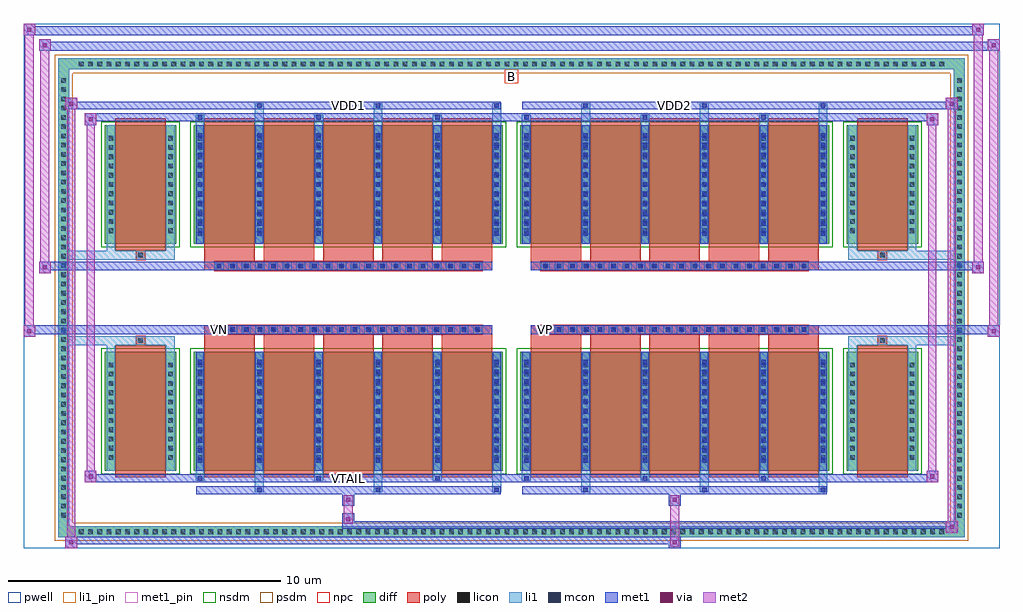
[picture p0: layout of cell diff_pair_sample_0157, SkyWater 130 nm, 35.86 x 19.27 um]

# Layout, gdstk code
import gdstk
lib = gdstk.Library(unit=1e-6, precision=5e-09)
def R(c, l, rs):  # rectangles x0, y0, x1, y1
    for r in rs: c.add(gdstk.rectangle(r[:2], r[2:], *l))
def A(c, l, x, y, w, h, nx, ny, dx, dy):  # array of equal rectangles
    R(c, l, [(x+i*dx, y+j*dy, x+i*dx+w, y+j*dy+h) for i in range(nx) for j in range(ny)])
def P(c, l, *ps):  # polygons
    for p in ps: c.add(gdstk.Polygon(p, *l))
pwell = (64, 44)
diff = (65, 20)
poly = (66, 20)
licon = (66, 44)
li1_pin = (67, 16)
li1 = (67, 20)
mcon = (67, 44)
met1_pin = (68, 16)
met1 = (68, 20)
via = (68, 44)
met2 = (69, 20)
nsdm = (93, 44)
psdm = (94, 20)
npc = (95, 20)

diff_pair_sample_0157 = lib.new_cell('diff_pair_sample_0157')
R(diff_pair_sample_0157, pwell, [(-17.93,-9.2,17.93,10.07), (-15.25,-7.39,-0.01,-0.805), (0.01,-7.39,15.25,-0.805), (-15.25,0.805,-0.01,7.39), (0.01,0.805,15.25,7.39)])
A(diff_pair_sample_0157, diff, -16.015, -8.8, 0.41, 0.41, 94, 2, 0.34, 17.19)
A(diff_pair_sample_0157, diff, -16.66, -8.195, 0.41, 0.41, 1, 48, 0, 0.34)
A(diff_pair_sample_0157, diff, 16.25, -8.195, 0.41, 0.41, 1, 48, 0, 0.34)
R(diff_pair_sample_0157, diff, [(-16.015,-8.8,16.015,-8.39), (-16.66,-8.195,-16.25,8.195), (16.25,-8.195,16.66,8.195), (-14.94,-6.345,-12.31,-1.985), (-11.67,-6.345,-0.32,-1.985), (0.32,-6.345,11.67,-1.985), (12.31,-6.345,14.94,-1.985), (-14.94,1.985,-12.31,6.345), (-11.67,1.985,-0.32,6.345), (0.32,1.985,11.67,6.345), (12.31,1.985,14.94,6.345), (-16.015,8.39,16.015,8.8)])
P(diff_pair_sample_0157, diff, [(16.66,8.8),(-16.66,8.8),(-16.66,-8.39),(-16.25,-8.39),(-16.25,8.39),(16.25,8.39),(16.25,-8.39),(-16.25,-8.39),(-16.66,-8.39),(-16.66,-8.8),(16.66,-8.8)])
A(diff_pair_sample_0157, poly, -11.28, -6.595, 1.85, 4.86, 5, 2, 2.18, 8.33)
A(diff_pair_sample_0157, poly, 0.71, -6.595, 1.85, 4.86, 5, 2, 2.18, 8.33)
A(diff_pair_sample_0157, poly, -11.28, -1.735, 1.85, 0.4, 5, 2, 2.18, 3.07)
A(diff_pair_sample_0157, poly, 0.71, -1.735, 1.85, 0.4, 5, 2, 2.18, 3.07)
A(diff_pair_sample_0157, poly, -10.91, -1.335, 0.33, 0.33, 20, 2, 0.5, 2.34)
A(diff_pair_sample_0157, poly, 1.08, -1.335, 0.33, 0.33, 20, 2, 0.5, 2.34)
R(diff_pair_sample_0157, poly, [(-14.55,-6.595,-12.7,-1.735), (12.7,-6.595,14.55,-1.735), (-13.79,-1.735,-13.46,-1.405), (-13.79,-1.735,-13.46,-1.405), (13.46,-1.735,13.79,-1.405), (13.46,-1.735,13.79,-1.405), (-11.28,-1.335,-0.71,-1.005), (0.71,-1.335,11.28,-1.005), (-11.28,1.005,-0.71,1.335), (0.71,1.005,11.28,1.335), (-13.79,1.405,-13.46,1.735), (-13.79,1.405,-13.46,1.735), (13.46,1.405,13.79,1.735), (13.46,1.405,13.79,1.735), (-14.55,1.735,-12.7,6.595), (12.7,1.735,14.55,6.595)])
A(diff_pair_sample_0157, licon, -15.895, -8.68, 0.17, 0.17, 94, 2, 0.34, 17.19)
A(diff_pair_sample_0157, licon, -16.54, -8.075, 0.17, 0.17, 1, 48, 0, 0.34)
A(diff_pair_sample_0157, licon, 16.37, -8.075, 0.17, 0.17, 1, 48, 0, 0.34)
A(diff_pair_sample_0157, licon, -14.8, -5.95, 0.17, 0.17, 1, 11, 0, 0.34)
A(diff_pair_sample_0157, licon, -12.62, -5.95, 0.17, 0.17, 1, 11, 0, 0.34)
A(diff_pair_sample_0157, licon, -11.53, -5.95, 0.17, 0.17, 6, 11, 2.18, 0.34)
A(diff_pair_sample_0157, licon, 0.46, -5.95, 0.17, 0.17, 6, 11, 2.18, 0.34)
A(diff_pair_sample_0157, licon, 12.45, -5.95, 0.17, 0.17, 1, 11, 0, 0.34)
A(diff_pair_sample_0157, licon, 14.63, -5.95, 0.17, 0.17, 1, 11, 0, 0.34)
A(diff_pair_sample_0157, licon, -10.83, -1.255, 0.17, 0.17, 20, 2, 0.5, 2.34)
A(diff_pair_sample_0157, licon, 1.16, -1.255, 0.17, 0.17, 20, 2, 0.5, 2.34)
A(diff_pair_sample_0157, licon, -14.8, 2.38, 0.17, 0.17, 1, 11, 0, 0.34)
A(diff_pair_sample_0157, licon, -12.62, 2.38, 0.17, 0.17, 1, 11, 0, 0.34)
A(diff_pair_sample_0157, licon, -11.53, 2.38, 0.17, 0.17, 6, 11, 2.18, 0.34)
A(diff_pair_sample_0157, licon, 0.46, 2.38, 0.17, 0.17, 6, 11, 2.18, 0.34)
A(diff_pair_sample_0157, licon, 12.45, 2.38, 0.17, 0.17, 1, 11, 0, 0.34)
A(diff_pair_sample_0157, licon, 14.63, 2.38, 0.17, 0.17, 1, 11, 0, 0.34)
R(diff_pair_sample_0157, licon, [(-13.71,-1.655,-13.54,-1.485), (13.54,-1.655,13.71,-1.485), (-13.71,1.485,-13.54,1.655), (13.54,1.485,13.71,1.655)])
R(diff_pair_sample_0157, li1_pin, [(-0.25,7.89,0.25,8.39)])
A(diff_pair_sample_0157, li1, -15.975, -8.76, 0.33, 0.33, 94, 2, 0.34, 17.19)
A(diff_pair_sample_0157, li1, -16.62, -8.155, 0.33, 0.33, 1, 48, 0, 0.34)
A(diff_pair_sample_0157, li1, 16.29, -8.155, 0.33, 0.33, 1, 48, 0, 0.34)
A(diff_pair_sample_0157, li1, -9.43, -7.15, 0.33, 0.805, 3, 2, 4.36, 13.495)
A(diff_pair_sample_0157, li1, -9.35, -7.15, 0.17, 0.17, 3, 2, 4.36, 14.13)
A(diff_pair_sample_0157, li1, 2.56, -7.15, 0.33, 0.805, 3, 2, 4.36, 13.495)
A(diff_pair_sample_0157, li1, 2.64, -7.15, 0.17, 0.17, 3, 2, 4.36, 14.13)
A(diff_pair_sample_0157, li1, -11.61, -6.72, 0.33, 0.375, 3, 2, 4.36, 13.065)
A(diff_pair_sample_0157, li1, -11.53, -6.72, 0.17, 0.17, 3, 2, 4.36, 13.27)
A(diff_pair_sample_0157, li1, 0.38, -6.72, 0.33, 0.375, 3, 2, 4.36, 13.065)
A(diff_pair_sample_0157, li1, 0.46, -6.72, 0.17, 0.17, 3, 2, 4.36, 13.27)
A(diff_pair_sample_0157, li1, -11.61, -6.345, 0.33, 4.36, 6, 2, 2.18, 8.33)
A(diff_pair_sample_0157, li1, 0.38, -6.345, 0.33, 4.36, 6, 2, 2.18, 8.33)
A(diff_pair_sample_0157, li1, -11.53, -6.05, 0.17, 0.17, 6, 11, 2.18, 0.36)
A(diff_pair_sample_0157, li1, -11.53, -6.05, 0.17, 3.77, 6, 2, 2.18, 8.33)
A(diff_pair_sample_0157, li1, 0.46, -6.05, 0.17, 0.17, 6, 11, 2.18, 0.36)
A(diff_pair_sample_0157, li1, 0.46, -6.05, 0.17, 3.77, 6, 2, 2.18, 8.33)
A(diff_pair_sample_0157, li1, -14.88, -6.03, 0.33, 0.33, 1, 11, 0, 0.34)
A(diff_pair_sample_0157, li1, -12.7, -6.03, 0.33, 0.33, 1, 11, 0, 0.34)
A(diff_pair_sample_0157, li1, -11.61, -6.03, 0.33, 0.33, 6, 11, 2.18, 0.34)
A(diff_pair_sample_0157, li1, 0.38, -6.03, 0.33, 0.33, 6, 11, 2.18, 0.34)
A(diff_pair_sample_0157, li1, 12.37, -6.03, 0.33, 0.33, 1, 11, 0, 0.34)
A(diff_pair_sample_0157, li1, 14.55, -6.03, 0.33, 0.33, 1, 11, 0, 0.34)
A(diff_pair_sample_0157, li1, -10.91, -1.335, 0.33, 0.33, 20, 2, 0.5, 2.34)
A(diff_pair_sample_0157, li1, 1.08, -1.335, 0.33, 0.33, 20, 2, 0.5, 2.34)
A(diff_pair_sample_0157, li1, -11.53, 2.28, 0.17, 0.17, 6, 11, 2.18, 0.36)
A(diff_pair_sample_0157, li1, 0.46, 2.28, 0.17, 0.17, 6, 11, 2.18, 0.36)
A(diff_pair_sample_0157, li1, -14.88, 2.3, 0.33, 0.33, 1, 11, 0, 0.34)
A(diff_pair_sample_0157, li1, -12.7, 2.3, 0.33, 0.33, 1, 11, 0, 0.34)
A(diff_pair_sample_0157, li1, -11.61, 2.3, 0.33, 0.33, 6, 11, 2.18, 0.34)
A(diff_pair_sample_0157, li1, 0.38, 2.3, 0.33, 0.33, 6, 11, 2.18, 0.34)
A(diff_pair_sample_0157, li1, 12.37, 2.3, 0.33, 0.33, 1, 11, 0, 0.34)
A(diff_pair_sample_0157, li1, 14.55, 2.3, 0.33, 0.33, 1, 11, 0, 0.34)
R(diff_pair_sample_0157, li1, [(-16.66,-8.8,-16.25,-8.39), (-16.66,-8.8,-16.25,-8.39), (-16.25,-8.8,16.25,-8.39), (16.25,-8.8,16.66,-8.39), (16.25,-8.8,16.66,-8.39), (-16.66,-8.39,-16.25,8.39), (16.25,-8.39,16.66,8.39), (-14.88,-6.345,-14.55,-1.985), (-12.7,-6.345,-12.37,-1.985), (12.37,-6.345,12.7,-1.985), (14.55,-6.345,14.88,-1.985), (-14.88,-1.985,-14.55,-1.405), (-12.7,-1.985,-12.37,-1.405), (12.37,-1.985,12.7,-1.405), (14.55,-1.985,14.88,-1.405), (-16.66,-1.735,-13.79,-1.405), (-14.88,-1.735,-13.79,-1.405), (-13.79,-1.735,-13.46,-1.405), (-13.46,-1.735,-12.37,-1.405), (12.37,-1.735,13.46,-1.405), (13.46,-1.735,13.79,-1.405), (13.46,-1.735,16.66,-1.405), (13.79,-1.735,14.88,-1.405), (-16.66,1.405,-13.79,1.735), (-14.88,1.405,-13.79,1.735), (-14.88,1.405,-14.55,1.985), (-13.79,1.405,-13.46,1.735), (-13.46,1.405,-12.37,1.735), (-12.7,1.405,-12.37,1.985), (12.37,1.405,13.46,1.735), (12.37,1.405,12.7,1.985), (13.46,1.405,13.79,1.735), (13.46,1.405,16.66,1.735), (13.79,1.405,14.88,1.735), (14.55,1.405,14.88,1.985), (-14.88,1.985,-14.55,6.345), (-12.7,1.985,-12.37,6.345), (12.37,1.985,12.7,6.345), (14.55,1.985,14.88,6.345), (-16.66,8.39,-16.25,8.8), (-16.66,8.39,-16.25,8.8), (-16.25,8.39,16.25,8.8), (16.25,8.39,16.66,8.8), (16.25,8.39,16.66,8.8)])
A(diff_pair_sample_0157, mcon, -9.35, -7.15, 0.17, 0.17, 3, 2, 4.36, 14.13)
A(diff_pair_sample_0157, mcon, 2.64, -7.15, 0.17, 0.17, 3, 2, 4.36, 14.13)
A(diff_pair_sample_0157, mcon, -11.53, -6.72, 0.17, 0.17, 3, 2, 4.36, 13.27)
A(diff_pair_sample_0157, mcon, 0.46, -6.72, 0.17, 0.17, 3, 2, 4.36, 13.27)
A(diff_pair_sample_0157, mcon, -11.53, -6.05, 0.17, 0.17, 6, 11, 2.18, 0.36)
A(diff_pair_sample_0157, mcon, 0.46, -6.05, 0.17, 0.17, 6, 11, 2.18, 0.36)
A(diff_pair_sample_0157, mcon, -10.83, -1.255, 0.17, 0.17, 20, 2, 0.5, 2.34)
A(diff_pair_sample_0157, mcon, 1.16, -1.255, 0.17, 0.17, 20, 2, 0.5, 2.34)
A(diff_pair_sample_0157, mcon, -11.53, 2.28, 0.17, 0.17, 6, 11, 2.18, 0.36)
A(diff_pair_sample_0157, mcon, 0.46, 2.28, 0.17, 0.17, 6, 11, 2.18, 0.36)
R(diff_pair_sample_0157, met1_pin, [(-6.13,-6.76,-5.86,-6.49), (-10.88,-1.295,-10.61,-1.025), (1.11,-1.295,1.38,-1.025), (-6.13,6.94,-5.86,7.21), (5.86,6.94,6.13,7.21)])
A(diff_pair_sample_0157, met1, -9.41, -7.21, 0.29, 0.29, 3, 2, 4.36, 14.13)
A(diff_pair_sample_0157, met1, 2.58, -7.21, 0.29, 0.29, 3, 2, 4.36, 14.13)
A(diff_pair_sample_0157, met1, -11.59, -6.78, 0.29, 0.29, 3, 2, 4.36, 13.27)
A(diff_pair_sample_0157, met1, 0.4, -6.78, 0.29, 0.29, 3, 2, 4.36, 13.27)
A(diff_pair_sample_0157, met1, -11.59, -6.345, 0.29, 4.36, 6, 2, 2.18, 8.33)
A(diff_pair_sample_0157, met1, 0.4, -6.345, 0.29, 4.36, 6, 2, 2.18, 8.33)
A(diff_pair_sample_0157, met1, -11.59, -6.11, 0.29, 0.29, 6, 11, 2.18, 0.36)
A(diff_pair_sample_0157, met1, 0.4, -6.11, 0.29, 0.29, 6, 11, 2.18, 0.36)
A(diff_pair_sample_0157, met1, -10.89, -1.315, 0.29, 0.29, 20, 2, 0.5, 2.34)
A(diff_pair_sample_0157, met1, 1.1, -1.315, 0.29, 0.29, 20, 2, 0.5, 2.34)
A(diff_pair_sample_0157, met1, -11.59, 2.22, 0.29, 0.29, 6, 11, 2.18, 0.36)
A(diff_pair_sample_0157, met1, 0.4, 2.22, 0.29, 0.29, 6, 11, 2.18, 0.36)
R(diff_pair_sample_0157, met1, [(-16.39,-9.2,-15.96,-8.77), (5.78,-9.2,6.21,-8.77), (-16.39,-9.06,6.21,-8.77), (15.96,-8.63,16.39,-8.2), (-6.21,-8.49,16.39,-8.2), (-6.21,-8.35,-5.78,-7.92), (-6.21,-7.64,-5.78,-7.21), (5.78,-7.64,6.21,-7.21), (-11.59,-7.21,-0.4,-6.92), (0.4,-7.21,11.59,-6.92), (-15.68,-6.78,-15.25,-6.35), (-15.68,-6.78,-11.59,-6.49), (-11.59,-6.78,-0.4,-6.49), (-0.4,-6.78,0.4,-6.49), (0.4,-6.78,11.59,-6.49), (11.59,-6.78,15.68,-6.49), (15.25,-6.78,15.68,-6.35), (-17.93,-1.435,-17.5,-1.005), (17.5,-1.435,17.93,-1.005), (-17.93,-1.335,-0.71,-1.005), (-11.28,-1.335,-0.71,-1.005), (0.71,-1.335,11.28,-1.005), (0.71,-1.335,17.93,-1.005), (-17.36,0.905,-16.93,1.335), (16.93,0.905,17.36,1.335), (-17.36,1.005,-11.28,1.335), (-11.28,1.005,-0.71,1.335), (0.71,1.005,11.28,1.335), (11.28,1.005,17.36,1.335), (-15.68,6.35,-15.25,6.78), (15.25,6.35,15.68,6.78), (-15.68,6.49,-11.59,6.78), (-11.59,6.49,-0.4,6.78), (-0.4,6.49,0.4,6.78), (0.4,6.49,11.59,6.78), (11.59,6.49,15.68,6.78), (-16.39,6.92,-15.96,7.35), (-16.39,6.92,-11.59,7.21), (-11.59,6.92,-0.4,7.21), (0.4,6.92,11.59,7.21), (11.59,6.92,16.39,7.21), (15.96,6.92,16.39,7.35), (-17.36,9.07,-16.93,9.5), (-17.36,9.07,-15.25,9.4), (-15.25,9.07,15.25,9.4), (15.25,9.07,17.93,9.4), (17.5,9.07,17.93,9.5), (-17.93,9.64,-17.5,10.07), (-17.93,9.64,-15.25,9.97), (-15.25,9.64,15.25,9.97), (15.25,9.64,17.36,9.97), (16.93,9.64,17.36,10.07)])
R(diff_pair_sample_0157, via, [(-16.25,-9.06,-16.1,-8.91), (5.92,-9.06,6.07,-8.91), (16.1,-8.49,16.25,-8.34), (-6.07,-8.21,-5.92,-8.06), (-6.07,-7.5,-5.92,-7.35), (5.92,-7.5,6.07,-7.35), (-15.54,-6.64,-15.39,-6.49), (15.39,-6.64,15.54,-6.49), (-17.79,-1.295,-17.64,-1.145), (17.64,-1.295,17.79,-1.145), (-17.22,1.045,-17.07,1.195), (17.07,1.045,17.22,1.195), (-15.54,6.49,-15.39,6.64), (15.39,6.49,15.54,6.64), (-16.25,7.06,-16.1,7.21), (16.1,7.06,16.25,7.21), (-17.22,9.21,-17.07,9.36), (17.64,9.21,17.79,9.36), (-17.79,9.78,-17.64,9.93), (17.07,9.78,17.22,9.93)])
R(diff_pair_sample_0157, met2, [(-16.39,-9.2,-15.96,-8.77), (-16.32,-9.2,-16.03,7.35), (-16.03,-9.2,-15.96,-8.77), (-16.34,-9.15,-16.01,-8.82), (5.83,-9.15,6.16,-8.82), (5.83,-8.82,6.16,-7.59), (15.96,-8.63,16.39,-8.2), (16.03,-8.63,16.32,7.35), (16.32,-8.63,16.39,-8.2), (16.01,-8.58,16.34,-8.25), (-6.16,-8.3,-5.83,-7.97), (-6.16,-7.97,-5.83,-7.59), (-6.16,-7.59,-5.83,-7.26), (5.83,-7.59,6.16,-7.26), (-15.68,-6.78,-15.25,-6.35), (-15.61,-6.78,-15.32,6.78), (-15.32,-6.78,-15.25,-6.35), (15.25,-6.78,15.68,-6.35), (15.32,-6.78,15.61,6.78), (15.61,-6.78,15.68,-6.35), (-15.63,-6.73,-15.3,-6.4), (15.3,-6.73,15.63,-6.4), (-17.93,-1.435,-17.5,-1.005), (-17.88,-1.435,-17.55,10.07), (-17.55,-1.435,-17.5,-1.005), (17.5,-1.435,17.93,-1.005), (17.55,-1.435,17.88,9.5), (17.88,-1.435,17.93,-1.005), (-17.88,-1.385,-17.55,-1.055), (17.55,-1.385,17.88,-1.055), (-17.36,0.905,-16.93,1.335), (-17.31,0.905,-16.98,9.5), (-16.98,0.905,-16.93,1.335), (16.93,0.905,17.36,1.335), (16.98,0.905,17.31,10.07), (17.31,0.905,17.36,1.335), (-17.31,0.955,-16.98,1.285), (16.98,0.955,17.31,1.285), (-15.68,6.35,-15.25,6.78), (-15.32,6.35,-15.25,6.78), (15.25,6.35,15.68,6.78), (15.61,6.35,15.68,6.78), (-15.63,6.4,-15.3,6.73), (15.3,6.4,15.63,6.73), (-16.39,6.92,-15.96,7.35), (-16.03,6.92,-15.96,7.35), (15.96,6.92,16.39,7.35), (16.32,6.92,16.39,7.35), (-16.34,6.97,-16.01,7.3), (16.01,6.97,16.34,7.3), (-17.36,9.07,-16.93,9.5), (-16.98,9.07,-16.93,9.5), (17.5,9.07,17.93,9.5), (17.88,9.07,17.93,9.5), (-17.31,9.12,-16.98,9.45), (17.55,9.12,17.88,9.45), (-17.93,9.64,-17.5,10.07), (-17.55,9.64,-17.5,10.07), (16.93,9.64,17.36,10.07), (17.31,9.64,17.36,10.07), (-17.88,9.69,-17.55,10.02), (16.98,9.69,17.31,10.02)])
R(diff_pair_sample_0157, nsdm, [(-15.07,-6.475,-12.18,-1.855), (-11.8,-6.475,-0.19,-1.855), (0.19,-6.475,11.8,-1.855), (12.18,-6.475,15.07,-1.855), (-15.07,1.855,-12.18,6.475), (-11.8,1.855,-0.19,6.475), (0.19,1.855,11.8,6.475), (12.18,1.855,15.07,6.475)])
P(diff_pair_sample_0157, psdm, [(16.79,8.93),(-16.79,8.93),(-16.79,-8.26),(-16.12,-8.26),(-16.12,8.26),(16.12,8.26),(16.12,-8.26),(-16.12,-8.26),(-16.79,-8.26),(-16.79,-8.93),(16.79,-8.93)])
A(diff_pair_sample_0157, npc, -10.93, -1.355, 0.37, 0.37, 20, 2, 0.5, 2.34)
A(diff_pair_sample_0157, npc, 1.06, -1.355, 0.37, 0.37, 20, 2, 0.5, 2.34)
R(diff_pair_sample_0157, npc, [(-13.81,-1.755,-13.44,-1.385), (13.44,-1.755,13.81,-1.385), (-10.93,-1.355,-10.06,-0.985), (-10.93,-1.355,-10.06,-0.985), (-10.43,-1.355,-9.56,-0.985), (-10.43,-1.355,-9.56,-0.985), (-9.93,-1.355,-9.06,-0.985), (-9.93,-1.355,-9.06,-0.985), (-9.43,-1.355,-8.56,-0.985), (-9.43,-1.355,-8.56,-0.985), (-8.93,-1.355,-8.06,-0.985), (-8.93,-1.355,-8.06,-0.985), (-8.43,-1.355,-7.56,-0.985), (-8.43,-1.355,-7.56,-0.985), (-7.93,-1.355,-7.06,-0.985), (-7.93,-1.355,-7.06,-0.985), (-7.43,-1.355,-6.56,-0.985), (-7.43,-1.355,-6.56,-0.985), (-6.93,-1.355,-6.06,-0.985), (-6.93,-1.355,-6.06,-0.985), (-6.43,-1.355,-5.56,-0.985), (-6.43,-1.355,-5.56,-0.985), (-5.93,-1.355,-5.06,-0.985), (-5.93,-1.355,-5.06,-0.985), (-5.43,-1.355,-4.56,-0.985), (-5.43,-1.355,-4.56,-0.985), (-4.93,-1.355,-4.06,-0.985), (-4.93,-1.355,-4.06,-0.985), (-4.43,-1.355,-3.56,-0.985), (-4.43,-1.355,-3.56,-0.985), (-3.93,-1.355,-3.06,-0.985), (-3.93,-1.355,-3.06,-0.985), (-3.43,-1.355,-2.56,-0.985), (-3.43,-1.355,-2.56,-0.985), (-2.93,-1.355,-2.06,-0.985), (-2.93,-1.355,-2.06,-0.985), (-2.43,-1.355,-1.56,-0.985), (-2.43,-1.355,-1.56,-0.985), (-1.93,-1.355,-1.06,-0.985), (-1.93,-1.355,-1.06,-0.985), (1.06,-1.355,1.93,-0.985), (1.06,-1.355,1.93,-0.985), (1.56,-1.355,2.43,-0.985), (1.56,-1.355,2.43,-0.985), (2.06,-1.355,2.93,-0.985), (2.06,-1.355,2.93,-0.985), (2.56,-1.355,3.43,-0.985), (2.56,-1.355,3.43,-0.985), (3.06,-1.355,3.93,-0.985), (3.06,-1.355,3.93,-0.985), (3.56,-1.355,4.43,-0.985), (3.56,-1.355,4.43,-0.985), (4.06,-1.355,4.93,-0.985), (4.06,-1.355,4.93,-0.985), (4.56,-1.355,5.43,-0.985), (4.56,-1.355,5.43,-0.985), (5.06,-1.355,5.93,-0.985), (5.06,-1.355,5.93,-0.985), (5.56,-1.355,6.43,-0.985), (5.56,-1.355,6.43,-0.985), (6.06,-1.355,6.93,-0.985), (6.06,-1.355,6.93,-0.985), (6.56,-1.355,7.43,-0.985), (6.56,-1.355,7.43,-0.985), (7.06,-1.355,7.93,-0.985), (7.06,-1.355,7.93,-0.985), (7.56,-1.355,8.43,-0.985), (7.56,-1.355,8.43,-0.985), (8.06,-1.355,8.93,-0.985), (8.06,-1.355,8.93,-0.985), (8.56,-1.355,9.43,-0.985), (8.56,-1.355,9.43,-0.985), (9.06,-1.355,9.93,-0.985), (9.06,-1.355,9.93,-0.985), (9.56,-1.355,10.43,-0.985), (9.56,-1.355,10.43,-0.985), (10.06,-1.355,10.93,-0.985), (10.06,-1.355,10.93,-0.985), (-10.93,0.985,-10.06,1.355), (-10.93,0.985,-10.06,1.355), (-10.43,0.985,-9.56,1.355), (-10.43,0.985,-9.56,1.355), (-9.93,0.985,-9.06,1.355), (-9.93,0.985,-9.06,1.355), (-9.43,0.985,-8.56,1.355), (-9.43,0.985,-8.56,1.355), (-8.93,0.985,-8.06,1.355), (-8.93,0.985,-8.06,1.355), (-8.43,0.985,-7.56,1.355), (-8.43,0.985,-7.56,1.355), (-7.93,0.985,-7.06,1.355), (-7.93,0.985,-7.06,1.355), (-7.43,0.985,-6.56,1.355), (-7.43,0.985,-6.56,1.355), (-6.93,0.985,-6.06,1.355), (-6.93,0.985,-6.06,1.355), (-6.43,0.985,-5.56,1.355), (-6.43,0.985,-5.56,1.355), (-5.93,0.985,-5.06,1.355), (-5.93,0.985,-5.06,1.355), (-5.43,0.985,-4.56,1.355), (-5.43,0.985,-4.56,1.355), (-4.93,0.985,-4.06,1.355), (-4.93,0.985,-4.06,1.355), (-4.43,0.985,-3.56,1.355), (-4.43,0.985,-3.56,1.355), (-3.93,0.985,-3.06,1.355), (-3.93,0.985,-3.06,1.355), (-3.43,0.985,-2.56,1.355), (-3.43,0.985,-2.56,1.355), (-2.93,0.985,-2.06,1.355), (-2.93,0.985,-2.06,1.355), (-2.43,0.985,-1.56,1.355), (-2.43,0.985,-1.56,1.355), (-1.93,0.985,-1.06,1.355), (-1.93,0.985,-1.06,1.355), (1.06,0.985,1.93,1.355), (1.06,0.985,1.93,1.355), (1.56,0.985,2.43,1.355), (1.56,0.985,2.43,1.355), (2.06,0.985,2.93,1.355), (2.06,0.985,2.93,1.355), (2.56,0.985,3.43,1.355), (2.56,0.985,3.43,1.355), (3.06,0.985,3.93,1.355), (3.06,0.985,3.93,1.355), (3.56,0.985,4.43,1.355), (3.56,0.985,4.43,1.355), (4.06,0.985,4.93,1.355), (4.06,0.985,4.93,1.355), (4.56,0.985,5.43,1.355), (4.56,0.985,5.43,1.355), (5.06,0.985,5.93,1.355), (5.06,0.985,5.93,1.355), (5.56,0.985,6.43,1.355), (5.56,0.985,6.43,1.355), (6.06,0.985,6.93,1.355), (6.06,0.985,6.93,1.355), (6.56,0.985,7.43,1.355), (6.56,0.985,7.43,1.355), (7.06,0.985,7.93,1.355), (7.06,0.985,7.93,1.355), (7.56,0.985,8.43,1.355), (7.56,0.985,8.43,1.355), (8.06,0.985,8.93,1.355), (8.06,0.985,8.93,1.355), (8.56,0.985,9.43,1.355), (8.56,0.985,9.43,1.355), (9.06,0.985,9.93,1.355), (9.06,0.985,9.93,1.355), (9.56,0.985,10.43,1.355), (9.56,0.985,10.43,1.355), (10.06,0.985,10.93,1.355), (10.06,0.985,10.93,1.355), (-13.81,1.385,-13.44,1.755), (13.44,1.385,13.81,1.755)])
diff_pair_sample_0157.add(gdstk.Label('VTAIL', (-5.995,-6.625), layer=68, texttype=5))
diff_pair_sample_0157.add(gdstk.Label('VN', (-10.745,-1.16), layer=68, texttype=5))
diff_pair_sample_0157.add(gdstk.Label('VP', (1.245,-1.16), layer=68, texttype=5))
diff_pair_sample_0157.add(gdstk.Label('B', (0,8.14), layer=67, texttype=5))
diff_pair_sample_0157.add(gdstk.Label('VDD2', (5.995,7.075), layer=68, texttype=5))
diff_pair_sample_0157.add(gdstk.Label('VDD1', (-5.995,7.075), layer=68, texttype=5))

lib.write_gds('diff_pair_sample_0157.gds')
